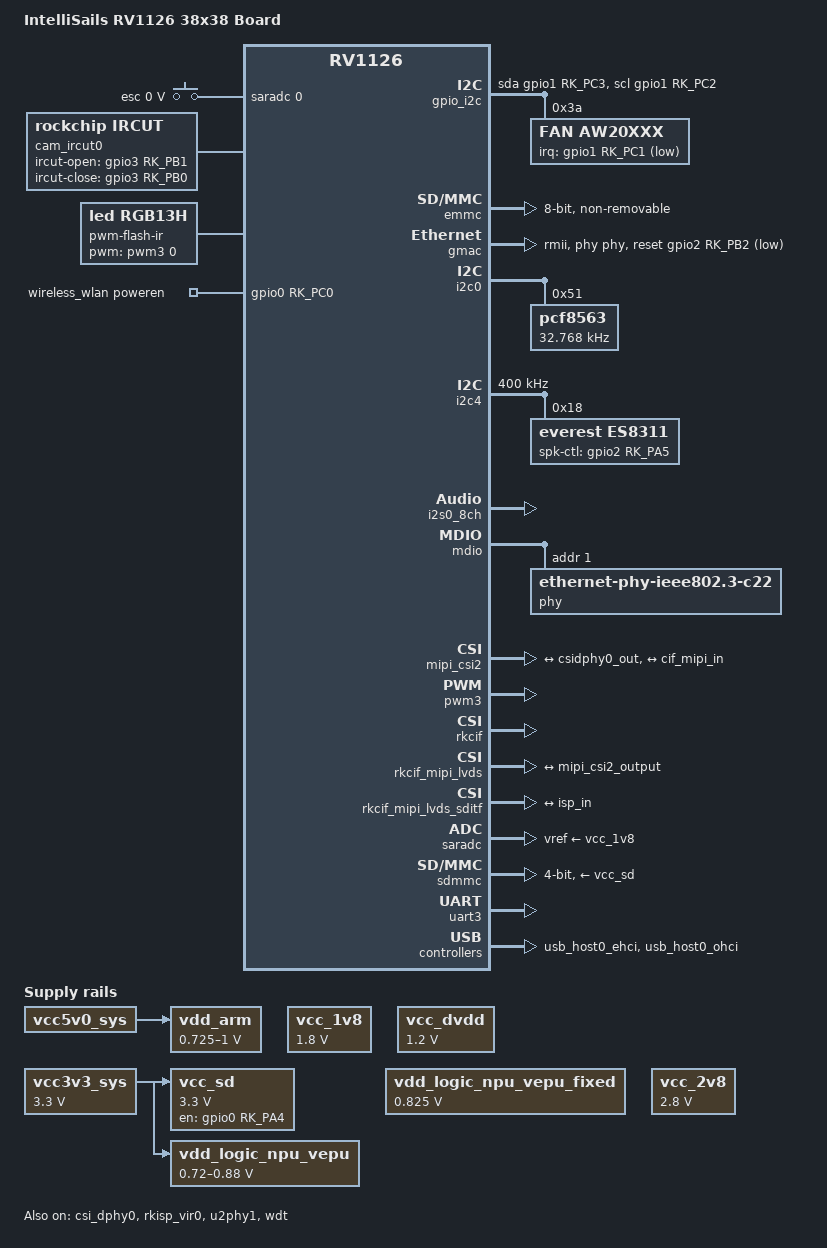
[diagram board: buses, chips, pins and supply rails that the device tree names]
// SPDX-License-Identifier: (GPL-2.0+ OR MIT)
/*
 * Copyright (c) 2020 Rockchip Electronics Co., Ltd.
 */

/dts-v1/;
#include "rv1126.dtsi"
#include "rv1126-ipc.dtsi"
#include <dt-bindings/input/input.h>

/ {
	model = "IntelliSails RV1126 38x38 Board";
	compatible = "intellisails,rv1126-38x38", "rockchip,rv1126";

	chosen {
		bootargs = "earlycon=uart8250,mmio32,0xff570000 console=ttyFIQ0 root=PARTUUID=614e0000-0000 rootfstype=squashfs rootwait snd_aloop.index=7";
	};

	/delete-node/ vdd-vepu;

	vcc_1v8: vcc-1v8 {
		compatible = "regulator-fixed";
		regulator-name = "vcc_1v8";
		regulator-always-on;
		regulator-boot-on;
		regulator-min-microvolt = <1800000>;
		regulator-max-microvolt = <1800000>;
	};

	vcc_dvdd: vcc-dvdd {
		compatible = "regulator-fixed";
		regulator-name = "vcc_dvdd";
		regulator-always-on;
		regulator-boot-on;
		regulator-min-microvolt = <1200000>;
		regulator-max-microvolt = <1200000>;
	};

	vcc3v3_sys: vcc33sys {
		compatible = "regulator-fixed";
		regulator-name = "vcc3v3_sys";
		regulator-always-on;
		regulator-boot-on;
		regulator-min-microvolt = <3300000>;
		regulator-max-microvolt = <3300000>;
	};

	vcc_sd: vcc-sd {
		compatible = "regulator-fixed";
		gpio = <&gpio0 RK_PA4 GPIO_ACTIVE_HIGH>;
		pinctrl-0 = <&sdmmc_pwr>;
		pinctrl-names = "default";
		regulator-name = "vcc_sd";
		regulator-min-microvolt = <3300000>;
		regulator-max-microvolt = <3300000>;
		startup-delay-us = <100000>;
		vin-supply = <&vcc3v3_sys>;
		enable-active-high;
	};

	vdd_arm: vdd-arm {
		compatible = "pwm-regulator";
		pwms = <&pwm0 0 5000 1>;
		regulator-name = "vdd_arm";
		regulator-min-microvolt = <725000>;
		regulator-max-microvolt = <1000000>;
		regulator-init-microvolt = <900000>;
		regulator-always-on;
		regulator-boot-on;
		regulator-settling-time-up-us = <250>;
		pwm-supply = <&vcc5v0_sys>;
		status = "okay";
	};

	/*
	 * pwm1 is reserved as voltage adjustment in hardware
	 * use fixed regulator to avoid voltage adjustment by software
	 */
	vdd_logic_npu_vepu: vdd-logic-npu-vepu {
		// compatible = "pwm-regulator";
		compatible = "regulator-fixed";
		regulator-name = "vdd_logic_npu_vepu";
		regulator-min-microvolt = <720000>;
		regulator-max-microvolt = <880000>;
		regulator-init-microvolt = <825000>;
		regulator-always-on;
		regulator-boot-on;
		regulator-settling-time-up-us = <250>;
		pwm-supply = <&vcc3v3_sys>;
		status = "okay";
	};

	vdd_logic_npu_vepu_fixed: vdd-logic-npu-vepu-fixed {
		compatible = "regulator-fixed";
		regulator-name = "vdd_logic_npu_vepu-fixed";
		regulator-always-on;
		regulator-boot-on;
		regulator-min-microvolt = <825000>;
		regulator-max-microvolt = <825000>;
	};

	adc-keys {
		compatible = "adc-keys";
		io-channels = <&saradc 0>;
		io-channel-names = "buttons";
		poll-interval = <100>;
		keyup-threshold-microvolt = <1800000>;

		esc-key {
			label = "esc";
			linux,code = <KEY_ESC>;
			press-threshold-microvolt = <0>;
		};
	};

	cam_ircut0: cam_ircut {
		status = "okay";
		compatible = "rockchip,ircut";
		ircut-open-gpios = <&gpio3 RK_PB1 GPIO_ACTIVE_HIGH>;
		ircut-close-gpios  = <&gpio3 RK_PB0 GPIO_ACTIVE_HIGH>;
		rockchip,camera-module-index = <1>;
		rockchip,camera-module-facing = "front";
	};

	flash_ir: flash-ir {
		status = "okay";
		compatible = "led,rgb13h";
		label = "pwm-flash-ir";
		led-max-microamp = <20000>;
		flash-max-microamp = <20000>;
		flash-max-timeout-us = <1000000>;
		pwms=<&pwm3 0 25000 0>;
		rockchip,camera-module-index = <1>;
		rockchip,camera-module-facing = "front";
	};

	i2s0_sound: i2s0-sound {
		status = "okay";
		compatible = "simple-audio-card";
		simple-audio-card,format = "i2s";
		simple-audio-card,mclk-fs = <256>;
		simple-audio-card,name = "rockchip,i2s0-sound";
		simple-audio-card,cpu {
			sound-dai = <&i2s0_8ch>;
		};
		simple-audio-card,codec {
			sound-dai = <&es8311>;
		};
	};

	wireless_wlan: wireless-wlan {
		compatible = "wlan-platdata";
		rockchip,grf = <&grf>;
		wifi_chip_type = "USB-WiFi";
		WIFI,poweren_gpio = <&gpio0 RK_PC0 GPIO_ACTIVE_HIGH>;
		status = "okay";
	};

	vcc_2v8: vcc-2v8 {
		compatible = "regulator-fixed";
		regulator-name = "vcc_2v8";
		regulator-always-on;
		regulator-boot-on;
		regulator-min-microvolt = <2800000>;
		regulator-max-microvolt = <2800000>;
	};

	gpio_i2c: gpio_i2c {
		status = "okay";
		compatible = "i2c-gpio";
		scl-gpios = <&gpio1 RK_PC2 GPIO_ACTIVE_HIGH>;
		sda-gpios = <&gpio1 RK_PC3 GPIO_ACTIVE_HIGH>;
		i2c-gpio,delay-us = <2>;	/* ~100 kHz */
		#address-cells = <1>;
		#size-cells = <0>;
	};
};

&gpio_i2c{
	aw20xxx: aw20xxx@3a {
		status = "okay";
		compatible = "FAN,AW20XXX";
		reg = <0x3a>;
		irq-gpio = <&gpio1 RK_PC1 GPIO_ACTIVE_LOW>;
	};
};

&vdd_npu {
		pwms = <&pwm1 0 5000 1>;
};

&csi_dphy0 {
	status = "okay";

	ports {
		#address-cells = <1>;
		#size-cells = <0>;
		port@0 {
			reg = <0>;
			#address-cells = <1>;
			#size-cells = <0>;
		};
		port@1 {
			reg = <1>;
			#address-cells = <1>;
			#size-cells = <0>;

			csidphy0_out: endpoint@0 {
				reg = <0>;
				remote-endpoint = <&mipi_csi2_input>;
			};
		};
	};
};

&emmc {
	bus-width = <8>;
	cap-mmc-highspeed;
	non-removable;
	mmc-hs200-1_8v;
	rockchip,default-sample-phase = <90>;
	supports-emmc;
	/delete-property/ pinctrl-names;
	/delete-property/ pinctrl-0;
	status = "okay";
};

&gmac {
	phy-mode = "rmii";
	clock_in_out = "output";

	snps,reset-gpio = <&gpio2 RK_PB2 GPIO_ACTIVE_LOW>;
	snps,reset-active-low;
	snps,reset-delays-us = <0 50000 50000>;

	assigned-clocks = <&cru CLK_GMAC_SRC>, <&cru CLK_GMAC_TX_RX>;
	assigned-clock-parents = <&cru CLK_GMAC_SRC_M1>, <&cru RMII_MODE_CLK>;
	assigned-clock-rates = <50000000>;

	pinctrl-names = "default";
	pinctrl-0 = <&rmiim1_miim &rgmiim1_rxer &rgmiim1_mclkinout &rgmiim1_bus2>;

	tx_delay = <0x2a>;
	rx_delay = <0x1a>;

	phy-handle = <&phy>;
	status = "okay";
};

&i2c0 {
	status = "okay";

	pcf8563: pcf8563@51 {
		compatible = "pcf8563";
		reg = <0x51>;
		#clock-cells = <0>;
		clock-frequency = <32768>;
		clock-output-names = "xin32k";
	};
};

&i2c4 {
	status = "okay";
	clock-frequency = <400000>;
	pinctrl-0 = <&i2c4m1_xfer>;

	es8311: es8311@18 {
		compatible = "everest,es8311";
		reg = <0x18>;
		clocks = <&cru MCLK_I2S0_TX_OUT2IO>;
		clock-names = "mclk";
		adc-volume = <0xbf>;  /* 0dB */
		dac-volume = <0xbf>;  /* 0dB */
		aec-mode = "dac left, adc right";
		pinctrl-names = "default";
		pinctrl-0 = <&i2s0m0_mclk &spk_ctl>;
		assigned-clocks = <&cru MCLK_I2S0_TX_OUT2IO>;
		assigned-clock-parents = <&cru MCLK_I2S0_TX>;
		spk-ctl-gpios = <&gpio2 RK_PA5 GPIO_ACTIVE_HIGH>;
		#sound-dai-cells = <0>;
	};
};

&i2s0_8ch {
	status = "okay";
	rockchip,clk-trcm = <1>;
	#sound-dai-cells = <0>;
	pinctrl-0 = <&i2s0m0_sclk_tx
		     &i2s0m0_lrck_tx
		     &i2s0m0_sdi0
		     &i2s0m0_sdo0>;
};

&isp_reserved {
	size = <0x0AC00000>;
};

&mdio {
	phy: phy@1 {
		compatible = "ethernet-phy-ieee802.3-c22";
		reg = <0x1>;
	};
};

&mipi_csi2 {
	status = "okay";

	ports {
		#address-cells = <1>;
		#size-cells = <0>;

		port@0 {
			reg = <0>;
			#address-cells = <1>;
			#size-cells = <0>;

			mipi_csi2_input: endpoint@1 {
				reg = <1>;
				remote-endpoint = <&csidphy0_out>;
				data-lanes = <1 2 3 4>;
			};
		};

		port@1 {
			reg = <1>;
			#address-cells = <1>;
			#size-cells = <0>;

			mipi_csi2_output: endpoint@0 {
				reg = <0>;
				remote-endpoint = <&cif_mipi_in>;
				data-lanes = <1 2 3 4>;
			};
		};
	};
};

&npu {
	npu-supply = <&vdd_npu>;
};


&pinctrl {
	es8311 {
		spk_ctl: spk-ctl {
			rockchip,pins = <2 RK_PA5 0 &pcfg_pull_none>;
		};
	};

	sdmmc-pwr {
		/omit-if-no-ref/
		sdmmc_pwr: sdmmc-pwr {
			rockchip,pins = <0 RK_PA4 RK_FUNC_GPIO &pcfg_pull_none>;
		};
	};
};

&pmu_io_domains {
	status = "okay";

	pmuio0-supply = <&vcc3v3_sys>;
	pmuio1-supply = <&vcc3v3_sys>;
	vccio2-supply = <&vcc3v3_sys>;
	vccio3-supply = <&vcc_1v8>;
	vccio4-supply = <&vcc_1v8>;
	vccio5-supply = <&vcc3v3_sys>;
	vccio6-supply = <&vcc_1v8>;
	vccio7-supply = <&vcc3v3_sys>;
};

&pwm3 {
	status = "okay";
	pinctrl-names = "active";
	pinctrl-0 = <&pwm3m0_pins_pull_down>;
};

&rkcif {
	status = "okay";
};

&rkcif_mmu {
	status = "disabled";
};

&rkcif_mipi_lvds {
	status = "okay";

	port {
		/* MIPI CSI-2 endpoint */
		cif_mipi_in: endpoint {
			remote-endpoint = <&mipi_csi2_output>;
			data-lanes = <1 2 3 4>;
		};
	};
};

&rkcif_mipi_lvds_sditf {
	status = "okay";

	port {
		/* MIPI CSI-2 endpoint */
		mipi_lvds_sditf: endpoint {
			remote-endpoint = <&isp_in>;
			data-lanes = <1 2 3 4>;
		};
	};
};

&rkisp_vir0 {
	status = "okay";

	ports {
		port@0 {
			reg = <0>;
			#address-cells = <1>;
			#size-cells = <0>;

			isp_in: endpoint@0 {
				reg = <0>;
				remote-endpoint = <&mipi_lvds_sditf>;
			};
		};
	};
};

&rkvenc {
	venc-supply = <&vdd_npu>;
};

&rockchip_suspend {
	status = "okay";
	rockchip,sleep-debug-en = <1>;
	rockchip,sleep-mode-config = <
		(0
		| RKPM_SLP_ARMOFF
		| RKPM_SLP_PMU_PMUALIVE_32K
		| RKPM_SLP_PMU_DIS_OSC
		)
	>;
};

&saradc {
	status = "okay";
	vref-supply = <&vcc_1v8>;
};

&sdmmc0_bus4 {
	rockchip,pins =
		/* sdmmc0_d0 */
		<1 RK_PA4 1 &pcfg_pull_up_drv_level_0>,
		/* sdmmc0_d1 */
		<1 RK_PA5 1 &pcfg_pull_up_drv_level_0>,
		/* sdmmc0_d2 */
		<1 RK_PA6 1 &pcfg_pull_up_drv_level_0>,
		/* sdmmc0_d3 */
		<1 RK_PA7 1 &pcfg_pull_up_drv_level_0>;
};

&sdmmc0_clk {
	rockchip,pins =
		/* sdmmc0_clk */
		<1 RK_PB0 1 &pcfg_pull_up_drv_level_3>;
};

&sdmmc0_cmd {
	rockchip,pins =
		/* sdmmc0_cmd */
		<1 RK_PB1 1 &pcfg_pull_up_drv_level_0>;
};

&sdmmc {
	bus-width = <4>;
	cap-mmc-highspeed;
	cap-sd-highspeed;
	card-detect-delay = <200>;
	rockchip,default-sample-phase = <90>;
	supports-sd;
	status = "okay";
	vmmc-supply = <&vcc_sd>;
};

&soc_crit {
	/* millicelsius */
	temperature = <125000>;
};

&u2phy1 {
	status = "okay";
	u2phy_host: host-port {
		status = "okay";
	};
};

&uart3 {
	wakeup-source;
	pinctrl-names = "default";
	pinctrl-0 = <&uart3m2_xfer &uart3m2_ctsn &uart3m2_rtsn>;
	status = "okay";
};

&usb_host0_ehci {
	status = "okay";
};

&usb_host0_ohci {
	status = "okay";
};

&wdt {
	status = "okay";
};
